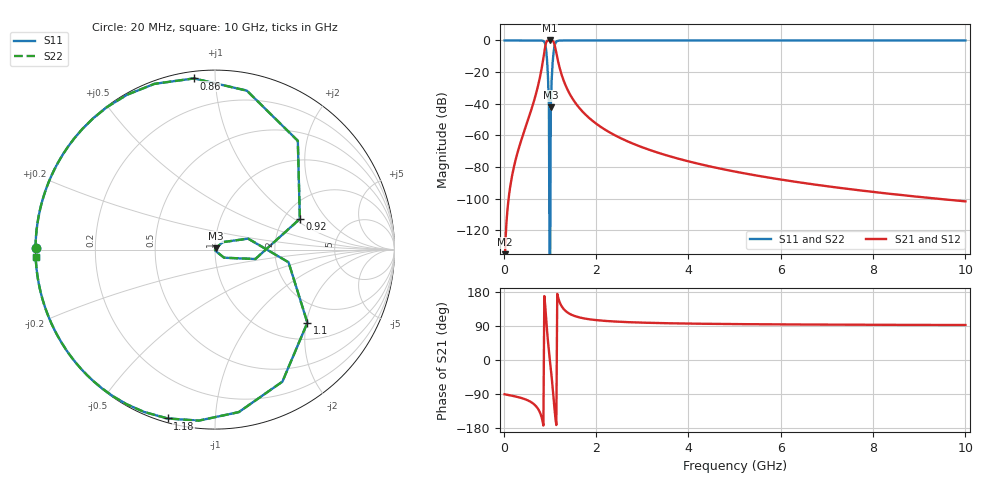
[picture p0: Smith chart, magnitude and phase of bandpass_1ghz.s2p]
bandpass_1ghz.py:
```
# brief-trn-4 gate 4 — a third-order maximally flat band-pass (1 GHz centre, 20 % bandwidth, 50 ohm), written as a
# Touchstone file from its lumped prototype: shunt resonator, series resonator, shunt resonator. Independent of circuitRF:
# plain complex arithmetic on ABCD matrices. 20 MHz to 10 GHz in 20 MHz steps, real/imaginary.
import math, cmath

Z0, F0, FBW = 50.0, 1e9, 0.2
G = [1.0, 2.0, 1.0]
W0 = 2 * math.pi * F0

def mul(a, b):
    return [[a[0][0]*b[0][0] + a[0][1]*b[1][0], a[0][0]*b[0][1] + a[0][1]*b[1][1]],
            [a[1][0]*b[0][0] + a[1][1]*b[1][0], a[1][0]*b[0][1] + a[1][1]*b[1][1]]]

def shunt(y): return [[1, 0], [y, 1]]
def series(z): return [[1, z], [0, 1]]

def s_at(f):
    s = 2j * math.pi * f
    # shunt parallel LC (g1, g3), series LC (g2)
    def shunt_res(g):
        L = FBW * Z0 / (W0 * g); C = g / (W0 * FBW * Z0)
        return shunt(1 / (s * L) + s * C)
    def series_res(g):
        L = g * Z0 / (W0 * FBW); C = FBW / (W0 * g * Z0)
        return series(s * L + 1 / (s * C))
    m = mul(mul(shunt_res(G[0]), series_res(G[1])), shunt_res(G[2]))
    A, B, C, D = m[0][0], m[0][1], m[1][0], m[1][1]
    den = A + B / Z0 + C * Z0 + D
    return ((A + B / Z0 - C * Z0 - D) / den, 2 * (A * D - B * C) / den, 2 / den, (-A + B / Z0 - C * Z0 + D) / den)

with open("bandpass_1ghz.s2p", "w") as out:
    out.write("! third-order maximally flat band-pass, 1 GHz, 20 % bandwidth (bandpass_1ghz.py)\n")
    out.write("# Hz S RI R 50\n")
    for k in range(1, 501):
        f = 20e6 * k
        s11, s12, s21, s22 = s_at(f)
        out.write("%d %.12e %.12e %.12e %.12e %.12e %.12e %.12e %.12e\n" %
                  (int(f), s11.real, s11.imag, s21.real, s21.imag, s12.real, s12.imag, s22.real, s22.imag))
```
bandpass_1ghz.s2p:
! third-order maximally flat band-pass, 1 GHz, 20 % bandwidth (bandpass_1ghz.py)
# Hz S RI R 50
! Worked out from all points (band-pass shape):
!   500 points, 20 MHz to 10 GHz, reference 50 ohm
!   highest |S21| = 0.00 dB at 1 GHz (marker M1); lowest = -143.9 dB at 20 MHz (marker M2)
!   |S21| within 3 dB of the highest: 906.2 MHz to 1.104 GHz (198.2 MHz wide, 19.7 % of centre)
!   lowest |S11| = -42.2 dB at 1.02 GHz (marker M3), VSWR 1.02, Z = 50.3 + j0.72 ohm
!   |S11| at or under -10 dB: 931.9 MHz to 1.073 GHz (140.9 MHz wide, 14.1 % of centre)
!   |S22| runs from - to 0.0 dB; largest |S21 - S12| = 6.2e-14
!   S11 on the Smith chart (normalised r, x): 20 MHz: 0.00, +0.00; 860 MHz: 0.04, +0.88; 920 MHz: 2.43, +1.11; 1.1 GHz: 1.42, -2.03; 1.18 GHz: 0.02, -0.76; 10 GHz: 0.00, -0.02
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2e7  -1 0.008  -5.13e-10 -6.41e-08  -5.13e-10 -6.41e-08  -1 0.008
2.4e8  -0.9948 0.1017  -1.34e-05 -0.000131  -1.34e-05 -0.000131  -0.9948 0.1017
8.6e8  -0.1177 0.9537  -0.2748 -0.0339  -0.2748 -0.0339  -0.1177 0.9537
9.2e8  0.4728 0.1711  -0.2942 0.8128  -0.2942 0.8128  0.4728 0.1711
1e9  -1.58e-31 1.26e-15  1 1.25e-16  1 1.25e-16  -1.58e-31 1.26e-15
1.02e9  0.00302 0.00716  0.9215 -0.3883  0.9215 -0.3883  0.00302 0.00716
1.1e9  0.5147 -0.4072  -0.4682 -0.5917  -0.4682 -0.5917  0.5147 -0.4072
1.18e9  -0.2641 -0.9408  -0.2047 0.0574  -0.2047 0.0574  -0.2641 -0.9408
2.24e9  -0.9751 -0.2216  -0.000307 0.00135  -0.000307 0.00135  -0.9751 -0.2216
5.02e9  -0.9966 -0.0829  -5.92e-06 7.12e-05  -5.92e-06 7.12e-05  -0.9966 -0.0829
1e10  -0.9992 -0.0404  -3.33e-07 8.24e-06  -3.33e-07 8.24e-06  -0.9992 -0.0404
